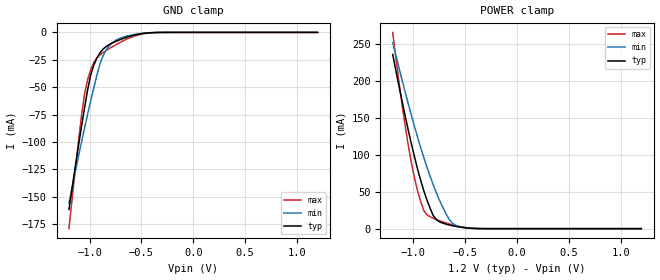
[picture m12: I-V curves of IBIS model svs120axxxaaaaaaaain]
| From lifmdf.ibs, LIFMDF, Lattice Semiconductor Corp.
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|   Model svs120axxxaaaaaaaain
[Model] svs120axxxaaaaaaaain
Model_type Input
Polarity   Non-Inverting
Vinl =  0.0V
Vinh =  0.400V
C_comp   5.000pF   4.000pF   5.500pF
[Temperature Range]   25.000   0.125k   -40.000
[Voltage Range]   1.200V   1.140V   1.260V
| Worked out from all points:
|   GND clamp passes 1 mA (typ) near -0.49 V on its own axis
|   POWER clamp passes 1 mA (typ) near -0.49 V on its own axis
[GND_clamp]
|Voltage   I(typ)   I(min)   I(max)
-1.2V     -161.5mA   -155.7mA   -179mA
-1.11V    -104.6mA   -114mA     -100.9mA
-1.05V    -69.18mA   -87.52mA   -56.37mA
-1.02V    -52.51mA   -74.76mA   -43.19mA
-990mV    -38.86mA   -62.37mA   -33.96mA
-960mV    -29.81mA   -50.4mA    -27.55mA
-900mV    -18.58mA   -28.48mA   -20.49mA
-840mV    -12.8mA    -15.97mA   -16.5mA
-780mV    -9.574mA   -9.378mA   -13.05mA
-540mV    -1.86mA    -1.434mA   -2.575mA
-330mV    -52.19uA   -53.03uA   -60.64uA
1.2V      0A         0A         0A
[POWER_clamp]
|Voltage   I(typ)   I(min)   I(max)
-1.2V     235.3mA    251.4mA    265.1mA
-1.11V    172.5mA    200.9mA    167.8mA
-1.02V    114.7mA    153.3mA    89.39mA
-990mV    97.09mA    138.2mA    68.78mA
-930mV    65.21mA    109.6mA    36.59mA
-900mV    51.31mA    96.13mA    24.47mA
-870mV    38.92mA    83.34mA    18.85mA
-810mV    18.03mA    59.67mA    14.15mA
-780mV    12.34mA    48.89mA    12.44mA
-660mV    5.175mA    13.63mA    6.547mA
-570mV    2.577mA    3.308mA    3.224mA
1.2V      0A         0A         0A
